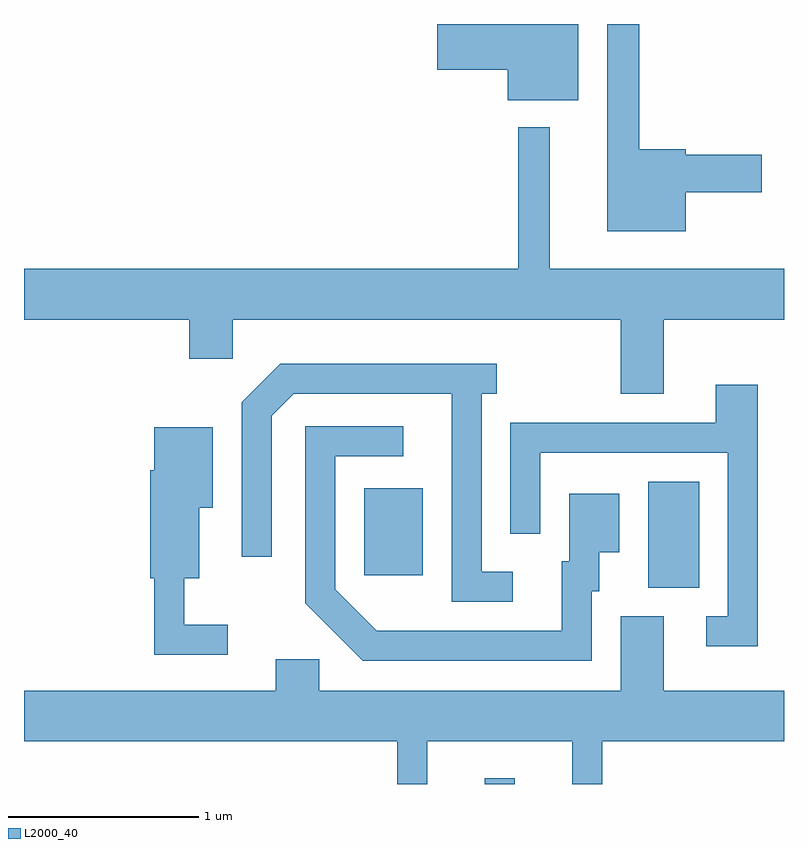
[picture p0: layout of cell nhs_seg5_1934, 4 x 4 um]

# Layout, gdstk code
import gdstk
lib = gdstk.Library(unit=1e-6, precision=1e-09)
def R(c, l, rs):  # rectangles x0, y0, x1, y1
    for r in rs: c.add(gdstk.rectangle(r[:2], r[2:], *l))
def P(c, l, *ps):  # polygons
    for p in ps: c.add(gdstk.Polygon(p, *l))
L2000_40 = (2000, 40)

nhs_seg5_1934 = lib.new_cell('nhs_seg5_1934')
R(nhs_seg5_1934, L2000_40, [(244.036,1512.072,244.194,1512.103), (244.896,1513.106,245.164,1513.664), (243.401,1513.171,243.709,1513.629)])
P(nhs_seg5_1934, L2000_40, [(245.094,1515.186),(245.494,1515.186),(245.494,1515.384),(245.094,1515.384),(245.094,1515.414),(244.849,1515.414),(244.849,1516.072),(244.681,1516.072),(244.681,1514.981),(245.094,1514.981)],
  [(244.529,1516.072),(243.786,1516.072),(243.786,1515.831),(244.156,1515.831),(244.156,1515.671),(244.529,1515.671)],
  [(244.979,1514.516),(245.611,1514.516),(245.611,1514.784),(244.379,1514.784),(244.379,1515.528),(244.211,1515.528),(244.211,1514.784),(241.611,1514.784),(241.611,1514.516),(242.481,1514.516),(242.481,1514.311),(242.709,1514.311),(242.709,1514.516),(244.751,1514.516),(244.751,1514.126),(244.979,1514.126)],
  [(244.183,1513.189),(244.019,1513.189),(244.019,1514.126),(244.098,1514.126),(244.098,1514.284),(242.959,1514.284),(242.756,1514.082),(242.756,1513.268),(242.914,1513.268),(242.914,1514.009),(243.032,1514.126),(243.861,1514.126),(243.861,1513.031),(244.183,1513.031)],
  [(245.474,1514.174),(245.251,1514.174),(245.251,1513.974),(244.171,1513.974),(244.171,1513.388),(244.329,1513.388),(244.329,1513.816),(245.316,1513.816),(245.316,1512.954),(245.203,1512.954),(245.203,1512.796),(245.474,1512.796)],
  [(244.599,1513.086),(244.639,1513.086),(244.639,1513.291),(244.744,1513.291),(244.744,1513.599),(244.481,1513.599),(244.481,1513.244),(244.441,1513.244),(244.441,1512.879),(243.467,1512.879),(243.249,1513.097),(243.249,1513.796),(243.608,1513.796),(243.608,1513.954),(243.091,1513.954),(243.091,1513.024),(243.394,1512.721),(244.599,1512.721)],
  [(242.683,1512.909),(242.454,1512.909),(242.454,1513.156),(242.534,1513.156),(242.534,1513.526),(242.604,1513.526),(242.604,1513.949),(242.296,1513.949),(242.296,1513.724),(242.276,1513.724),(242.276,1513.156),(242.296,1513.156),(242.296,1512.751),(242.683,1512.751)],
  [(243.734,1512.296),(244.496,1512.296),(244.496,1512.072),(244.654,1512.072),(244.654,1512.296),(245.611,1512.296),(245.611,1512.564),(244.979,1512.564),(244.979,1512.954),(244.751,1512.954),(244.751,1512.564),(243.164,1512.564),(243.164,1512.729),(242.936,1512.729),(242.936,1512.564),(241.611,1512.564),(241.611,1512.296),(243.576,1512.296),(243.576,1512.072),(243.734,1512.072)])

lib.write_gds('nhs_seg5_1934.gds')
